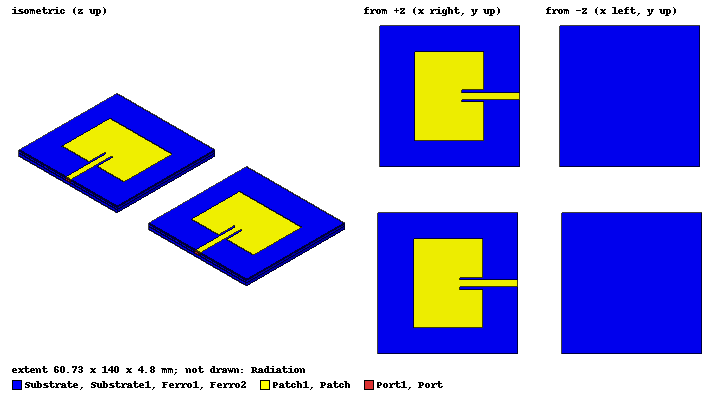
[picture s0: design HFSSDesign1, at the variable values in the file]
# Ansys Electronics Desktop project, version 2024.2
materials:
  vacuum: permittivity=1
  FR4_epoxy: permittivity=4.4 dielectric_loss_tangent=0.02
  air: permittivity=1.0006 permeability=1.0000004
  FR4_epoxy_Low_Dia: permittivity=4.4 permeability=0.5 dielectric_loss_tangent=0.02

design HFSSDesign1 (HFSS, HFSS Terminal Network, model units mm)
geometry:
  Ground = rectangle(corner=(-30mm, -30mm, 0mm), x_size=60mm, y_size=60mm)
  Substrate [FR4_epoxy] = box(corner=(-30mm, -30mm, 0mm), size=(60mm, 60mm, 1.6mm))
  Patch = rectangle(corner=((-29.4/2) mm, (-38/2) mm, 1.6mm), x_size=29.4mm, y_size=38mm)
  Feed = rectangle(corner=(0mm, -1.5mm, 1.6mm), x_size=30mm, y_size=3mm)
  Cut = rectangle(corner=(14.7mm, -2.5mm, 1.6mm), x_size=-9.5mm, y_size=5mm)
  Patch.subtract(Cut)
  Patch.unite(Feed)
  Port = rectangle(corner=(30mm, -1.5mm, 1.6mm), y_size=3mm, z_size=-1.6mm)
  Radiation [air] = box(corner=(-40mm, -120mm, -20mm), size=(80mm, 160mm, 40mm))
  Ground1 = rectangle(corner=(-30mm, -100mm, 0mm), x_size=60mm, y_size=60mm)
  Substrate1 [FR4_epoxy] = box(corner=(-30mm, -100mm, 0mm), size=(60mm, 60mm, 1.6mm))
  Patch1 = rectangle(corner=((-29.4/2) mm, -89mm, 1.6mm), x_size=29.4mm, y_size=38mm)
  Cut1 = rectangle(corner=(14.7mm, -72.5mm, 1.6mm), x_size=-9.5mm, y_size=5mm)
  Patch1.subtract(Cut1)
  Feed1 = rectangle(corner=(0mm, -71.5mm, 1.6mm), x_size=30mm, y_size=3mm)
  Patch1.unite(Feed1)
  Port1 = rectangle(corner=(30mm, -71.5mm, 1.6mm), y_size=3mm, z_size=-1.6mm)
  [Substrate1, Port1, Ground1, Patch1].move(-0.73141771mm, -10mm, -1.6mm)
  Ferro1 [FR4_epoxy_Low_Dia] = box(corner=(-30mm, -30mm, -1.6mm), size=(60mm, 60mm, 1.6mm))
  Ferro2 [FR4_epoxy_Low_Dia] = box(corner=(-30mm, -100mm, -1.6mm), size=(60mm, 60mm, 1.6mm))
  Ferro2.move(-0.73141771mm, -10mm, -1.6mm)
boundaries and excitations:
  PerfE1: Perfect E Objects=[Ground, Patch]
  Rad1: Radiation Objects=Radiation
  PerfE2: Perfect E Objects=[Ground1, Patch1]
  1: Lumped Port Objects=Port LumpedPortType=Modal Modes{Mode1{IntLine{(30, 0, 0) -> (30, 0, 1.6)} CharImp=Zpi}} Impedance=50ohm
  2: Lumped Port Objects=Port1 LumpedPortType=Modal Modes{Mode1{IntLine{(29.268582, -80, -1.6) -> (29.268582, -80, 0)} CharImp=Zpi}} Impedance=50ohm
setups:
  Setup1: HfssDriven Frequency=2.4GHz MaxDeltaS=0.02 MaximumPasses=20 MinimumPasses=1 MinimumConvergedPasses=1 PercentRefinement=30 BasisOrder=1 PortAccuracy=2 DrivenSolverType="Direct Solver"
    sweep Sweep: 1GHz to 3GHz step 0.02GHz; Type=Discrete SaveFields
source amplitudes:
  1:1, 2:1: 1V 0deg
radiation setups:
  Infinite Sphere1: Infinite Sphere Theta=0deg..0deg step 0deg Phi=0deg..0deg step 0deg
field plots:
  Vector_E1: E Field over Patch.face(at (7.65, 0, 1.6)) on Setup1 : LastAdaptive at Freq=2.4GHz Phase=0deg
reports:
  S Parameter Plot 1: dB(S(1,1)) vs Freq on Setup1 : Sweep
  S Parameter Plot 2: dB(S(1,1)) vs Freq on Setup1 : Sweep; markers m1 at 2.17GHz
  rE Plot 1: rETotal vs Theta, Phi on Setup1 : LastAdaptive, Infinite Sphere1 [Freq=2.4GHz]
  rE Plot 2: rETotal vs Theta on Setup1 : LastAdaptive, Infinite Sphere1 [Phi=all Freq=2.4GHz]
  Gain Plot 1: GainTotal vs Theta on Setup1 : LastAdaptive, Infinite Sphere1 [Phi=all Freq=2.4GHz]
  Gain Plot 2: dB(GainTotal) vs Freq on Setup1 : Sweep, Infinite Sphere1 [Phi=all Theta=all]; markers m1 at 2.2GHz
  rE Plot 3: rETotal vs Theta, Phi on Setup1 : Sweep, Infinite Sphere1 [Freq=2.4GHz]
  Gain Plot 3: dB(GainTotal) vs Theta, Phi on Setup1 : Sweep, Infinite Sphere1 [Freq=2.4GHz]
  Gain Plot 4: dB(GainTotal) vs Phi, Theta on Setup1 : LastAdaptive, Infinite Sphere1 [Freq=2.4GHz]
  Realized Gain Plot 1: RealizedGainTotal vs Theta on Setup1 : LastAdaptive, Infinite Sphere1 [Phi=all Freq=2.4GHz]
  Realized Gain Plot 2: RealizedGainZ vs Theta on Setup1 : LastAdaptive, Infinite Sphere1 [Phi=all Freq=2.4GHz]
  Gain Plot 5: GainTotal vs Theta on Setup1 : LastAdaptive, Infinite Sphere1 [Phi=all Freq=2.4GHz]
  Directivity Plot 1: DirTotal vs Theta on Setup1 : LastAdaptive, Infinite Sphere1 [Phi=all Freq=2.4GHz]
  Directivity Plot 2: dB(DirTotal) vs Theta on Setup1 : LastAdaptive, Infinite Sphere1 [Phi=all Freq=2.4GHz]
  S Parameter Plot 3: dB(S(1,1)) vs Freq on Setup1 : Sweep
